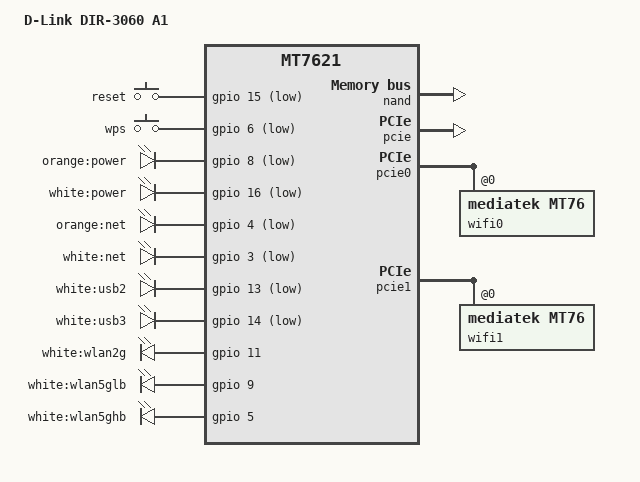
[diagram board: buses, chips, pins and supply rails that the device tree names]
// SPDX-License-Identifier: GPL-2.0-or-later OR MIT

#include "mt7621.dtsi"

#include <dt-bindings/gpio/gpio.h>
#include <dt-bindings/input/input.h>

/ {
	compatible = "dlink,dir-3060-a1", "mediatek,mt7621-soc";
	model = "D-Link DIR-3060 A1";

	aliases {
		label-mac-device = &gmac0;
		led-boot = &led_power_orange;
		led-failsafe = &led_power_white;
		led-running = &led_power_white;
		led-upgrade = &led_net_orange;
	};

	keys {
		compatible = "gpio-keys";

		reset {
			label = "reset";
			gpios = <&gpio 15 GPIO_ACTIVE_LOW>;
			linux,code = <KEY_RESTART>;
		};

		wps {
			label = "wps";
			gpios = <&gpio 6 GPIO_ACTIVE_LOW>;
			linux,code = <KEY_WPS_BUTTON>;
		};
	};

	leds {
		compatible = "gpio-leds";

		led_power_orange: power_orange {
			label = "orange:power";
			gpios = <&gpio 8 GPIO_ACTIVE_LOW>;
		};

		led_power_white: power_white {
			label = "white:power";
			gpios = <&gpio 16 GPIO_ACTIVE_LOW>;
		};

		led_net_orange: net_orange {
			label = "orange:net";
			gpios = <&gpio 4 GPIO_ACTIVE_LOW>;
		};

		net_white {
			label = "white:net";
			gpios = <&gpio 3 GPIO_ACTIVE_LOW>;
		};

		usb2_white {
			label = "white:usb2";
			gpios = <&gpio 13 GPIO_ACTIVE_LOW>;
			trigger-sources = <&ehci_port2>;
			linux,default-trigger = "usbport";
		};

		usb3_white {
			label = "white:usb3";
			gpios = <&gpio 14 GPIO_ACTIVE_LOW>;
			trigger-sources = <&xhci_ehci_port1>;
			linux,default-trigger = "usbport";
		};

		wlan2g {
			label = "white:wlan2g";
			gpios = <&gpio 11 GPIO_ACTIVE_HIGH>;
			linux,default-trigger = "phy0radio";
		};

		wlan5glb {
			label = "white:wlan5glb";
			gpios = <&gpio 9 GPIO_ACTIVE_HIGH>;
			linux,default-trigger = "phy1radio";
		};

		wlan5ghb {
			label = "white:wlan5ghb";
			gpios = <&gpio 5 GPIO_ACTIVE_HIGH>;
			linux,default-trigger = "phy2radio";
		};
	};
};

&nand {
	status = "okay";

	partitions {
		compatible = "fixed-partitions";
		#address-cells = <1>;
		#size-cells = <1>;

		partition@0 {
			label = "Bootloader";
			reg = <0x0 0x80000>;
			read-only;
		};

		partition@80000 {
			label = "config";
			reg = <0x80000 0x80000>;
			read-only;
		};

		factory: partition@100000 {
			label = "factory";
			reg = <0x100000 0x40000>;
			read-only;
		};

		partition@140000 {
			label = "config2";
			reg = <0x140000 0x40000>;
			read-only;
		};

		partition@180000 {
			label = "firmware";
			compatible = "openwrt,uimage", "denx,uimage";
			openwrt,padding = <96>;
			reg = <0x180000 0x2800000>;
		};

		partition@2980000 {
			label = "private";
			reg = <0x2980000 0x2000000>;
			read-only;
		};

		partition@4980000 {
			label = "firmware2";
			reg = <0x4980000 0x2800000>;
			read-only;
		};

		partition@7180000 {
			label = "mydlink";
			reg = <0x7180000 0x600000>;
			read-only;
		};

		partition@7780000 {
			label = "reserved";
			reg = <0x7780000 0x880000>;
			read-only;
		};
	};
};

&pcie {
	status = "okay";
};

&pcie0 {
	wifi0: wifi@0,0 {
		compatible = "mediatek,mt76";
		reg = <0x0000 0 0 0 0>;
		mediatek,mtd-eeprom = <&factory 0x0>;
		ieee80211-freq-limit = <2400000 6000000>;
		nvmem-cells = <&macaddr_factory_e000>;
		nvmem-cell-names = "mac-address";
		mac-address-increment = <1>;
	};
};

&pcie1 {
	wifi1: wifi@0,0 {
		compatible = "mediatek,mt76";
		reg = <0x0000 0 0 0 0>;
		mediatek,mtd-eeprom = <&factory 0x8000>;
		ieee80211-freq-limit = <5000000 6000000>;
		nvmem-cells = <&macaddr_factory_e000>;
		nvmem-cell-names = "mac-address";
		mac-address-increment = <3>;
	};
};

&gmac0 {
	nvmem-cells = <&macaddr_factory_e000>;
	nvmem-cell-names = "mac-address";
};

&switch0 {
	ports {
		port@0 {
			status = "okay";
			label = "lan4";
		};

		port@1 {
			status = "okay";
			label = "lan3";
		};

		port@2 {
			status = "okay";
			label = "lan2";
		};

		port@3 {
			status = "okay";
			label = "lan1";
		};

		port@4 {
			status = "okay";
			label = "wan";
			nvmem-cells = <&macaddr_factory_e006>;
			nvmem-cell-names = "mac-address";
		};
	};
};

&state_default {
	gpio {
		groups = "i2c", "uart3", "jtag", "wdt";
		function = "gpio";
	};
};

&factory {
	compatible = "nvmem-cells";
	#address-cells = <1>;
	#size-cells = <1>;

	macaddr_factory_e000: macaddr@e000 {
		reg = <0xe000 0x6>;
	};

	macaddr_factory_e006: macaddr@e006 {
		reg = <0xe006 0x6>;
	};
};
